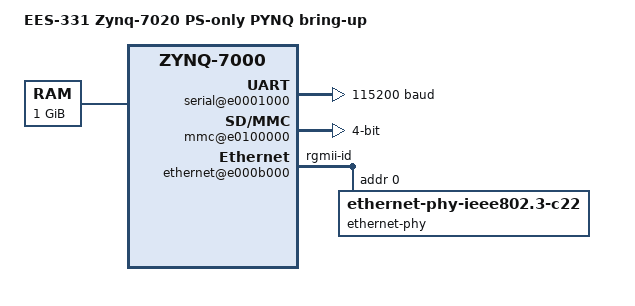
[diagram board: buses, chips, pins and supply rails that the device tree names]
/* EES-331 PS-only SD boot adaptation of the PYNQ 3.0.1 device tree.
 * PS initialization is provided by the EES-331 XSA-derived FSBL.
 * PHY address 0 is established by the 2026-09-08 board UART logs.
 */
/include/ "sources/original-system.dts"

/delete-node/ &{/amba};
/delete-node/ &{/phy0};
/delete-node/ &{/audio-codec-ctrl@43c00000};
/delete-node/ &{/fabric@40000000};
/delete-node/ &{/xlnk};
/delete-node/ &{/axi/spi@e000d000/flash@0};
/delete-node/ &{/axi/zyxclmm_drm};
/delete-node/ &{/memory};

/ {
    model = "EES-331 Zynq-7020 PS-only PYNQ bring-up";
    compatible = "ees,ees-331", "xlnx,zynq-7000";
    memory@0 {
        device_type = "memory";
        reg = <0x0 0x40000000>;
    };
    zyxclmm_drm {
        compatible = "xlnx,zocl";
        status = "okay";
    };
};

&{/chosen} {
    stdout-path = "serial0:115200n8";
    bootargs = "console=ttyPS0,115200 earlycon root=/dev/mmcblk0p2 rw rootfstype=ext4 rootwait devtmpfs.mount=1 uio_pdrv_genirq.of_id=generic-uio clk_ignore_unused";
    pynq_board = "EES-331";
};

&{/aliases} {
    serial0 = "/axi/serial@e0001000";
    mmc0 = "/axi/mmc@e0100000";
    /delete-property/ spi0;
};

&{/axi/serial@e0000000} {
    status = "disabled";
    /delete-property/ port-number;
};

&{/axi/serial@e0001000} {
    status = "okay";
    u-boot,dm-pre-reloc;
    port-number = <0>;
    current-speed = <115200>;
    cts-override;
};

&{/axi/slcr@f8000000/clkc@100} {
    ps-clk-frequency = <33333333>;
    fclk-enable = <0>;
};

&{/axi/mmc@e0100000} {
    status = "okay";
    u-boot,dm-pre-reloc;
    bus-width = <4>;
    max-frequency = <50000000>;
    no-1-8-v;
    disable-wp;
};

&{/axi/ethernet@e000b000} {
    status = "okay";
    /delete-property/ enet-reset;
    /delete-property/ xlnx,ptp-enet-clock;
    phy-mode = "rgmii-id";
    phy-handle = <0x14>;
    ethernet-phy@0 {
        compatible = "ethernet-phy-ieee802.3-c22";
        reg = <0>;
        phandle = <0x14>;
    };
};

/* These PS peripherals are disabled in the current minimal XSA. */
&{/axi/i2c@e0004000} { status = "disabled"; };
&{/axi/i2c@e0005000} { status = "disabled"; };
&{/axi/spi@e000d000} {
    status = "disabled";
    /delete-property/ #address-cells;
    /delete-property/ #size-cells;
};
&{/axi/usb@e0002000} {
    status = "disabled";
    /delete-property/ usb-phy;
    /delete-property/ usb-reset;
};

&{/__symbols__} {
    ethernet_phy = "/axi/ethernet@e000b000/ethernet-phy@0";
    /delete-property/ usb_phy0;
    /delete-property/ audio0;
    /delete-property/ flash0;
};
